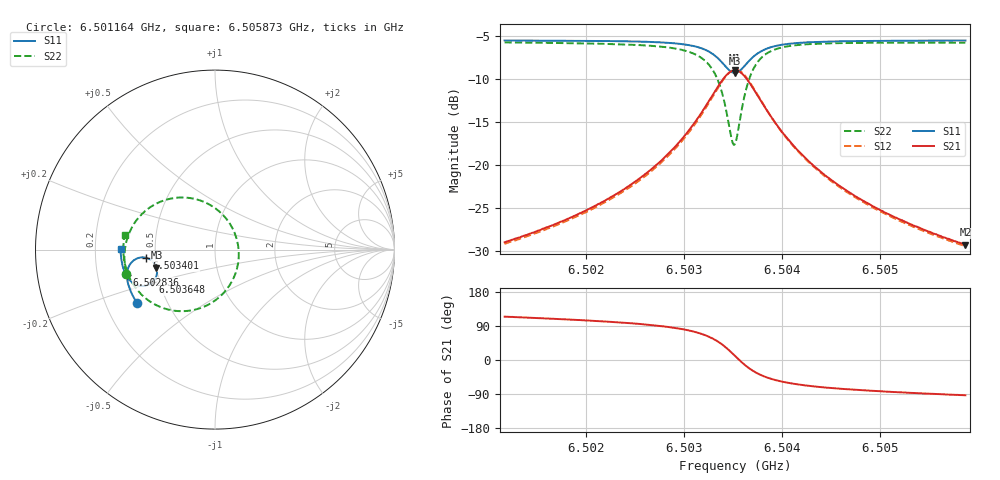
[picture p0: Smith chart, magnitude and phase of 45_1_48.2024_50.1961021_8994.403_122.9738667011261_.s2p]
#  HZ  S  RI  R  50.00
! Rohde & Schwarz Vector Network Analyzer
! Rohde-Schwarz,ZNB20-2Port,1311601062101988,3.16
! Created: UTC 3/20/2024, 11:38:01 AM
! freq[Hz]  re:S11  im:S11  re:S21  im:S21  re:S12  im:S12  re:S22  im:S22
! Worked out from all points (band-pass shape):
!   401 points, 6.501164 GHz to 6.505873 GHz, reference 50 ohm
!   highest |S21| = -9.03 dB at 6.503519 GHz (marker M1); lowest = -29.2 dB at 6.505873 GHz (marker M2)
!   |S21| within 3 dB of the highest: 6.503283 GHz to 6.503754 GHz (471.5 kHz wide, 0.00725 % of centre)
!   lowest |S11| = -9.3 dB at 6.503519 GHz (marker M3), VSWR 2.04, Z = 25 - j5.67 ohm
!   |S11| at or under -10 dB: nowhere
!   |S22| runs from -17.7 to -5.8 dB; largest |S21 - S12| = 0.012
!   S11 on the Smith chart (normalised r, x): 6.501164 GHz: 0.34, -0.27; 6.502836 GHz: 0.33, -0.12; 6.503401 GHz: 0.45, -0.05; 6.503648 GHz: 0.46, -0.20; 6.505873 GHz: 0.31, +0.00
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6.5011638e9  -0.4358 -0.2954  -0.0148 0.0326  -0.013 0.0325  -0.4951 -0.1337
6.5019527e9  -0.4684 -0.2349  -0.0138 0.0514  -0.0113 0.0509  -0.5047 -0.0457
6.5023765e9  -0.4825 -0.196  -0.0106 0.0713  -0.00748 0.0701  -0.4993 0.018
6.5027415e9  -0.4902 -0.1535  -0.000356 0.1033  0.00334 0.1006  -0.4762 0.0967
6.5028357e9  -0.4904 -0.14  0.00555 0.1159  0.00938 0.1126  -0.4632 0.1235
6.5030359e9  -0.4848 -0.1054  0.0308 0.1528  0.0344 0.1479  -0.411 0.1946
6.5031772e9  -0.4682 -0.0749  0.0727 0.1878  0.0751 0.1816  -0.3298 0.2548
6.5033067e9  -0.4304 -0.0478  0.1534 0.214  0.1538 0.2077  -0.1829 0.2904
6.5034009e9  -0.3818 -0.0458  0.2487 0.1959  0.2486 0.1913  -0.0178 0.2433
6.5034833e9  -0.3371 -0.0769  0.3296 0.1172  0.3322 0.1132  0.1115 0.0878
6.5035186e9  -0.326 -0.1002  0.3473 0.0663  0.3513 0.0608  0.1321 -0.00825
6.5035422e9  -0.3229 -0.1172  0.3506 0.0302  0.3551 0.0232  0.129 -0.0749
6.5035775e9  -0.3253 -0.1424  0.3426 -0.0221  0.3464 -0.0313  0.0994 -0.1677
6.5036481e9  -0.3486 -0.1813  0.2931 -0.1012  0.2931 -0.1132  -0.0173 -0.2954
6.5036952e9  -0.3701 -0.1955  0.2512 -0.1308  0.2483 -0.1427  -0.1053 -0.3331
6.5037541e9  -0.3959 -0.2025  0.2023 -0.1476  0.1966 -0.158  -0.2019 -0.3428
6.5039072e9  -0.445 -0.1932  0.1149 -0.143  0.1073 -0.1483  -0.359 -0.2913
6.504072e9  -0.4735 -0.172  0.0676 -0.1209  0.0609 -0.1231  -0.4352 -0.2222
6.5043075e9  -0.495 -0.1423  0.0359 -0.0943  0.0307 -0.0948  -0.4807 -0.1465
6.5046607e9  -0.5109 -0.1039  0.016 -0.0692  0.0123 -0.0688  -0.504 -0.0698
6.5050964e9  -0.5205 -0.0625  0.00565 -0.0514  0.00307 -0.0507  -0.5108 -0.00388
6.5058735e9  -0.526 0.0043  -0.00188 -0.0346  -0.00329 -0.0338  -0.5041 0.0824
